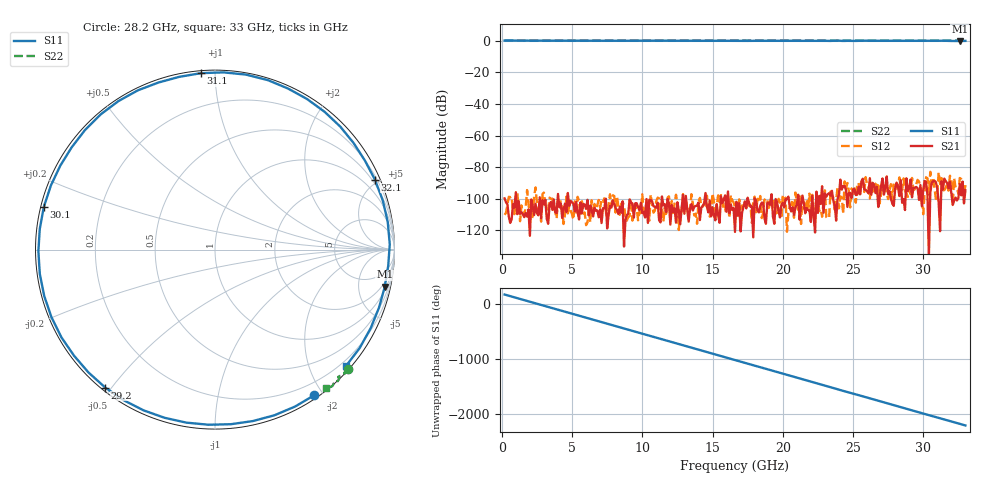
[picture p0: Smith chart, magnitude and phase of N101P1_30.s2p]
# GHZ S RI R 50
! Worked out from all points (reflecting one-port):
!   329 points, 200 MHz to 33 GHz, reference 50 ohm
!   lowest |S11| = -0.3 dB at 32.6 GHz (marker M1), VSWR 62.03, Z = 68.6 - j453 ohm
!   phase of S11 starts at 165 deg and turns -2367 deg over the sweep
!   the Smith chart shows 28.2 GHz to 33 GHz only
!   S11 on the Smith chart (normalised r, x): 28.2 GHz: 0.04, -1.89; 29.2 GHz: 0.01, -0.48; 30.1 GHz: 0.01, +0.12; 31.1 GHz: 0.01, +0.92; 32.1 GHz: 0.33, +4.76; 33 GHz: 0.09, -2.62
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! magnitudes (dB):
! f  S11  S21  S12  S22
! 200 MHz  0.0  -99.7  -110.2  0.0
! 5.7 GHz  -0.1  -109.2  -101.5  0.0
! 9 GHz  -0.1  -109.4  -111.6  0.0
! 11.2 GHz  -0.1  -113.6  -99.7  0.0
! 16.6 GHz  -0.2  -120.9  -105.0  0.0
! 22.1 GHz  -0.1  -98.1  -97.5  0.0
! 23.4 GHz  -0.2  -98.1  -95.4  0.0
! 23.9 GHz  0.0  -100.0  -92.8  0.1
! 24.2 GHz  -0.2  -94.2  -99.1  0.0
! 24.6 GHz  -0.2  -105.1  -90.0  -0.1
! 24.9 GHz  -0.3  -99.5  -93.4  -0.1
! 25.6 GHz  -0.1  -88.9  -89.8  -0.1
! 26.9 GHz  -0.2  -98.2  -102.9  -0.1
! 27.6 GHz  -0.1  -95.1  -94.9  -0.1
! 28.2 GHz  -0.2  -92.1  -90.8  -0.1
! 29.2 GHz  -0.2  -99.0  -86.8  0.0
! 30.1 GHz  -0.1  -88.7  -95.2  -0.1
! 31.1 GHz  -0.1  -102.9  -83.3  0.0
! 31.4 GHz  -0.1  -94.2  -94.6  0.0
! 32.1 GHz  -0.2  -103.9  -103.2  0.0
! 32.6 GHz  -0.3  -90.7  -86.9  0.0
! 33 GHz  -0.2  -94.6  -91.3  -0.1
